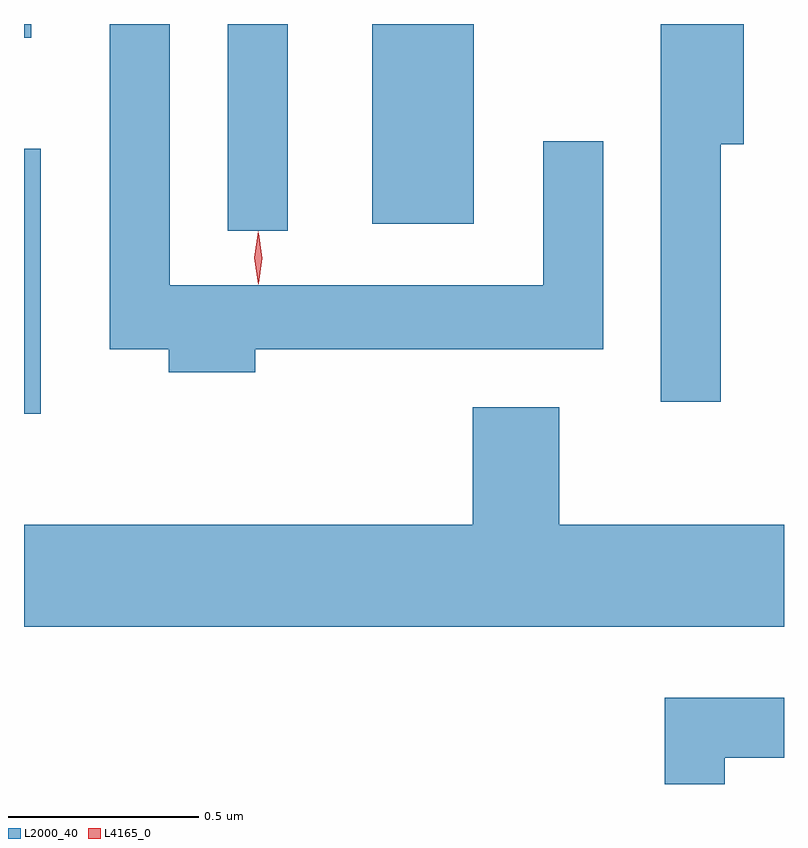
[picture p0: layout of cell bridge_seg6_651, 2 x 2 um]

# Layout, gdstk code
import gdstk
lib = gdstk.Library(unit=1e-6, precision=1e-09)
def R(c, l, rs):  # rectangles x0, y0, x1, y1
    for r in rs: c.add(gdstk.rectangle(r[:2], r[2:], *l))
def P(c, l, *ps):  # polygons
    for p in ps: c.add(gdstk.Polygon(p, *l))
L2000_40 = (2000, 40)
L4165_0 = (4165, 0)

bridge_seg6_651 = lib.new_cell('bridge_seg6_651')
R(bridge_seg6_651, L2000_40, [(544.01,1606.096,544.054,1606.794), (544.546,1606.578,544.704,1607.122), (544.926,1606.596,545.194,1607.122), (544.01,1607.086,544.029,1607.122)])
P(bridge_seg6_651, L2000_40, [(544.619,1606.266),(545.534,1606.266),(545.534,1606.813),(545.376,1606.813),(545.376,1606.434),(544.394,1606.434),(544.394,1607.122),(544.236,1607.122),(544.236,1606.266),(544.391,1606.266),(544.391,1606.206),(544.619,1606.206)],
  [(545.844,1606.806),(545.904,1606.806),(545.904,1607.122),(545.686,1607.122),(545.686,1606.128),(545.844,1606.128)],
  [(546.01,1605.804),(545.419,1605.804),(545.419,1606.114),(545.191,1606.114),(545.191,1605.804),(544.01,1605.804),(544.01,1605.536),(546.01,1605.536)],
  [(545.854,1605.191),(546.01,1605.191),(546.01,1605.349),(545.696,1605.349),(545.696,1605.122),(545.854,1605.122)])
P(bridge_seg6_651, L4165_0, [(544.628,1606.439),(544.627,1606.44),(544.618,1606.506),(544.627,1606.572),(544.627,1606.573),(544.628,1606.572),(544.637,1606.506),(544.628,1606.44)],
  [(544.626,1606.437),(544.626,1606.437),(544.616,1606.507),(544.626,1606.576),(544.626,1606.576),(544.627,1606.576),(544.636,1606.507),(544.627,1606.437)])

lib.write_gds('bridge_seg6_651.gds')
